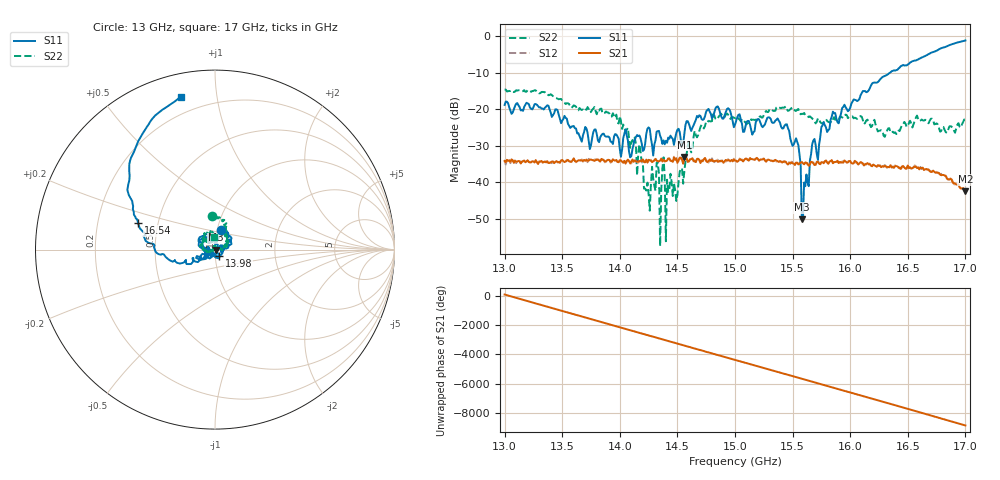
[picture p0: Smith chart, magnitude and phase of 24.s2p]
!Keysight Technologies,P9374A,MY57211807,A.19.30.04
!Date: Friday, May 01, 2026 14:12:29
!Correction: S11(C  2-Port  )
!S21(C  2-Port  )
!S12(C  2-Port  )
!S22(C  2-Port  )
!S2P File: Measurements: S11, S21, S12, S22:
# Hz S  RI  R 50
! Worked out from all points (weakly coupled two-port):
!   401 points, 13 GHz to 17 GHz, reference 50 ohm
!   highest |S21| = -33.08 dB at 14.56 GHz (marker M1); lowest = -42.4 dB at 17 GHz (marker M2)
!   lowest |S11| = -50.1 dB at 15.58 GHz (marker M3), VSWR 1.01, Z = 50.3 - j0.0725 ohm
!   |S11| at or under -10 dB: start of sweep to 16.34 GHz
!   |S22| runs from -57.4 to -14.6 dB; largest |S21 - S12| = 0.0018
!   S11 on the Smith chart (normalised r, x): 13 GHz: 1.04, +0.23; 13.98 GHz: 1.05, -0.07; 16.54 GHz: 0.38, +0.14; 17 GHz: 0.11, +0.80
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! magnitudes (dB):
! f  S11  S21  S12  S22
! 13 GHz  -18.8  -34.1  -34.2  -14.6
! 13.37 GHz  -18.9  -34.2  -34.4  -15.8
! 13.67 GHz  -28.9  -33.9  -33.7  -20.2
! 13.98 GHz  -27.4  -34.4  -34.4  -23.7
! 14.1 GHz  -32.8  -34.3  -34.8  -29.2
! 14.18 GHz  -27.9  -34.0  -33.5  -31.6
! 14.24 GHz  -25.3  -34.6  -34.5  -40.1
! 14.32 GHz  -26.1  -34.1  -34.1  -34.6
! 14.34 GHz  -25.9  -34.3  -34.3  -37.8
! 14.48 GHz  -28.0  -33.8  -33.9  -42.0
! 14.56 GHz  -26.9  -33.1  -33.3  -37.0
! 14.71 GHz  -22.7  -34.0  -34.1  -24.3
! 15 GHz  -24.2  -34.0  -34.1  -22.4
! 15.45 GHz  -24.1  -34.8  -34.8  -20.0
! 15.55 GHz  -29.8  -35.1  -34.8  -19.9
! 15.58 GHz  -50.1  -34.4  -34.8  -21.2
! 15.6 GHz  -40.0  -35.0  -35.0  -21.0
! 15.67 GHz  -29.6  -34.5  -34.5  -22.5
! 15.85 GHz  -20.7  -34.8  -34.7  -22.8
! 16.34 GHz  -10.1  -35.9  -35.4  -25.2
! 16.54 GHz  -6.9  -36.1  -36.1  -25.0
! 17 GHz  -1.2  -42.4  -42.4  -23.0
